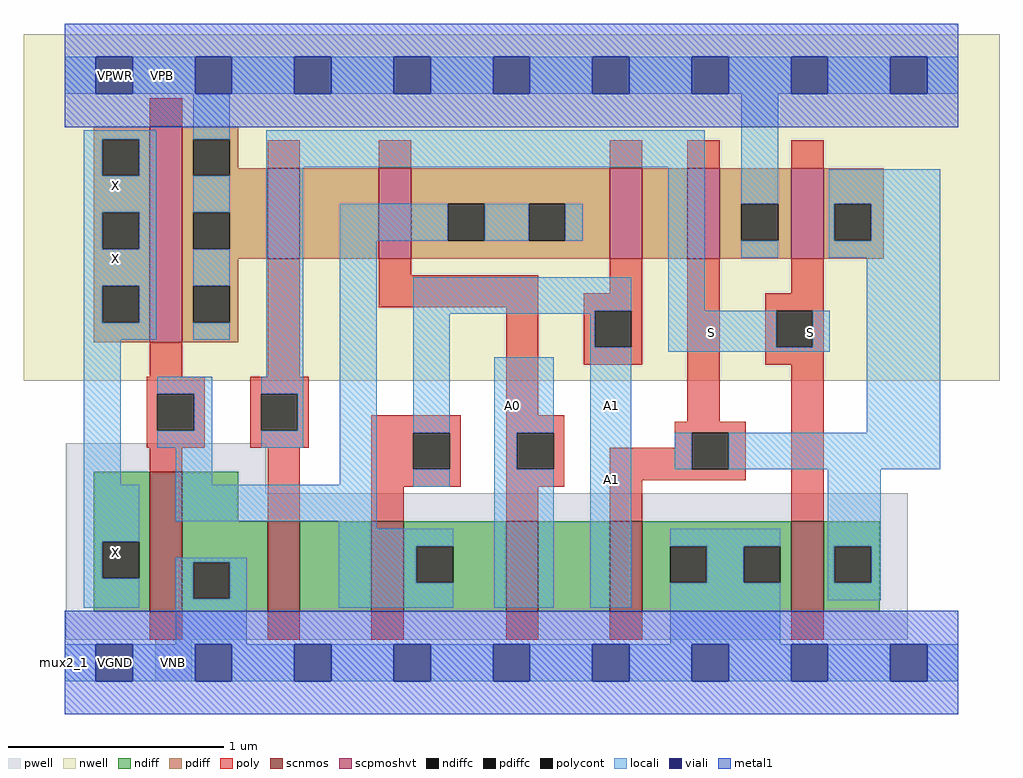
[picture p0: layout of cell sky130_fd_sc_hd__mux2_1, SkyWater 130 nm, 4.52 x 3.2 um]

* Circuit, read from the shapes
.subckt sky130_fd_sc_hd__mux2_1 VGND VPWR VPB VNB X A1 S A0
XM1 VGND n1 X VNB sky130_fd_pr__nfet_01v8 w=0.65 l=0.15
XM2 n2 S VGND VNB sky130_fd_pr__nfet_01v8 w=0.42 l=0.15
XM3 n1 A1 n2 VNB sky130_fd_pr__nfet_01v8 w=0.42 l=0.15
XM4 n3 A0 n1 VNB sky130_fd_pr__nfet_01v8 w=0.42 l=0.15
XM5 VGND n4 n3 VNB sky130_fd_pr__nfet_01v8 w=0.42 l=0.15
XM6 n4 S VGND VNB sky130_fd_pr__nfet_01v8 w=0.42 l=0.15
XM7 VPWR n1 X VPB sky130_fd_pr__pfet_01v8_hvt w=1 l=0.15
XM8 n5 S VPWR VPB sky130_fd_pr__pfet_01v8_hvt w=0.42 l=0.15
XM9 n1 A0 n5 VPB sky130_fd_pr__pfet_01v8_hvt w=0.42 l=0.15
XM10 n6 A1 n1 VPB sky130_fd_pr__pfet_01v8_hvt w=0.42 l=0.15
XM11 VPWR n4 n6 VPB sky130_fd_pr__pfet_01v8_hvt w=0.42 l=0.15
XM12 n4 S VPWR VPB sky130_fd_pr__pfet_01v8_hvt w=0.42 l=0.15
.ends

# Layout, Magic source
magic
tech sky130B
magscale 1 2
<< nwell >>
rect -38 221 866 542
<< pwell >>
rect 1 117 187 163
rect 1 -19 781 117
rect 84 -57 118 -19
<< scnmos >>
rect 79 7 109 137
rect 188 7 218 91
rect 284 7 314 91
rect 409 7 439 91
rect 505 7 535 91
rect 673 7 703 91
<< scpmoshvt >>
rect 79 257 109 457
rect 188 334 218 418
rect 291 334 321 418
rect 505 334 535 418
rect 577 334 607 418
rect 673 334 703 418
<< ndiff >>
rect 27 72 79 137
rect 27 38 35 72
rect 69 38 79 72
rect 27 7 79 38
rect 109 91 161 137
rect 109 53 188 91
rect 109 19 119 53
rect 153 19 188 53
rect 109 7 188 19
rect 218 7 284 91
rect 314 68 409 91
rect 314 34 326 68
rect 360 34 409 68
rect 314 7 409 34
rect 439 7 505 91
rect 535 68 673 91
rect 535 34 561 68
rect 595 34 629 68
rect 663 34 673 68
rect 535 7 673 34
rect 703 68 755 91
rect 703 34 713 68
rect 747 34 755 68
rect 703 7 755 34
<< pdiff >>
rect 27 445 79 457
rect 27 411 35 445
rect 69 411 79 445
rect 27 377 79 411
rect 27 343 35 377
rect 69 343 79 377
rect 27 309 79 343
rect 27 275 35 309
rect 69 275 79 309
rect 27 257 79 275
rect 109 445 161 457
rect 109 411 119 445
rect 153 418 161 445
rect 153 411 188 418
rect 109 377 188 411
rect 109 343 119 377
rect 153 343 188 377
rect 109 334 188 343
rect 218 334 291 418
rect 321 385 505 418
rect 321 351 355 385
rect 389 351 430 385
rect 464 351 505 385
rect 321 334 505 351
rect 535 334 577 418
rect 607 385 673 418
rect 607 351 627 385
rect 661 351 673 385
rect 607 334 673 351
rect 703 385 759 418
rect 703 351 713 385
rect 747 351 759 385
rect 703 334 759 351
rect 109 309 161 334
rect 109 275 119 309
rect 153 275 161 309
rect 109 257 161 275
<< ndiffc >>
rect 35 38 69 72
rect 119 19 153 53
rect 326 34 360 68
rect 561 34 595 68
rect 629 34 663 68
rect 713 34 747 68
<< pdiffc >>
rect 35 411 69 445
rect 35 343 69 377
rect 35 275 69 309
rect 119 411 153 445
rect 119 343 153 377
rect 355 351 389 385
rect 430 351 464 385
rect 627 351 661 385
rect 713 351 747 385
rect 119 275 153 309
<< poly >>
rect 79 457 109 483
rect 188 418 218 444
rect 291 418 321 444
rect 505 418 535 444
rect 577 418 607 444
rect 673 418 703 444
rect 79 225 109 257
rect 188 225 218 334
rect 291 319 321 334
rect 291 289 439 319
rect 505 302 535 334
rect 76 209 130 225
rect 76 175 86 209
rect 120 175 130 209
rect 76 159 130 175
rect 172 209 226 225
rect 172 175 182 209
rect 216 175 226 209
rect 409 189 439 289
rect 481 286 535 302
rect 481 252 491 286
rect 525 252 535 286
rect 481 236 535 252
rect 172 159 226 175
rect 284 173 367 189
rect 79 137 109 159
rect 188 91 218 159
rect 284 139 323 173
rect 357 139 367 173
rect 284 123 367 139
rect 409 173 463 189
rect 577 183 607 334
rect 673 302 703 334
rect 649 286 703 302
rect 649 252 659 286
rect 693 252 703 286
rect 649 236 703 252
rect 409 139 419 173
rect 453 139 463 173
rect 565 173 631 183
rect 565 159 581 173
rect 409 123 463 139
rect 505 139 581 159
rect 615 139 631 173
rect 505 129 631 139
rect 284 91 314 123
rect 409 91 439 123
rect 505 91 535 129
rect 673 91 703 236
rect 79 -19 109 7
rect 188 -19 218 7
rect 284 -19 314 7
rect 409 -19 439 7
rect 505 -19 535 7
rect 673 -19 703 7
<< polycont >>
rect 86 175 120 209
rect 182 175 216 209
rect 491 252 525 286
rect 323 139 357 173
rect 659 252 693 286
rect 419 139 453 173
rect 581 139 615 173
<< locali >>
rect 0 487 29 521
rect 63 487 121 521
rect 155 487 213 521
rect 247 487 305 521
rect 339 487 397 521
rect 431 487 489 521
rect 523 487 581 521
rect 615 487 673 521
rect 707 487 765 521
rect 799 487 828 521
rect 18 445 85 453
rect 18 411 35 445
rect 69 411 85 445
rect 18 377 85 411
rect 18 343 35 377
rect 69 343 85 377
rect 18 309 85 343
rect 18 275 35 309
rect 69 275 85 309
rect 18 259 85 275
rect 119 445 153 487
rect 119 377 153 411
rect 119 309 153 343
rect 119 259 153 275
rect 187 419 593 453
rect 18 125 52 259
rect 187 225 221 419
rect 86 209 137 225
rect 120 175 137 209
rect 86 159 137 175
rect 182 209 221 225
rect 216 175 221 209
rect 182 159 221 175
rect 255 351 355 385
rect 389 351 430 385
rect 464 351 480 385
rect 103 125 137 159
rect 255 125 289 351
rect 18 72 69 125
rect 103 91 289 125
rect 323 286 525 317
rect 323 283 491 286
rect 323 173 357 283
rect 487 252 491 283
rect 323 123 357 139
rect 398 173 453 243
rect 398 139 419 173
rect 18 38 35 72
rect 254 84 289 91
rect 254 68 360 84
rect 18 11 69 38
rect 103 53 169 57
rect 103 19 119 53
rect 153 19 169 53
rect 103 -23 169 19
rect 254 34 326 68
rect 254 11 360 34
rect 398 11 453 139
rect 487 11 525 252
rect 559 286 593 419
rect 627 385 661 487
rect 627 335 661 351
rect 708 385 811 417
rect 708 351 713 385
rect 747 351 811 385
rect 708 335 811 351
rect 559 252 659 286
rect 693 252 709 286
rect 559 248 709 252
rect 743 173 811 335
rect 565 139 581 173
rect 615 139 811 173
rect 561 68 663 84
rect 595 34 629 68
rect 561 -23 663 34
rect 707 68 756 139
rect 707 34 713 68
rect 747 34 756 68
rect 707 18 756 34
rect 0 -57 29 -23
rect 63 -57 121 -23
rect 155 -57 213 -23
rect 247 -57 305 -23
rect 339 -57 397 -23
rect 431 -57 489 -23
rect 523 -57 581 -23
rect 615 -57 673 -23
rect 707 -57 765 -23
rect 799 -57 828 -23
<< viali >>
rect 29 487 63 521
rect 121 487 155 521
rect 213 487 247 521
rect 305 487 339 521
rect 397 487 431 521
rect 489 487 523 521
rect 581 487 615 521
rect 673 487 707 521
rect 765 487 799 521
rect 29 -57 63 -23
rect 121 -57 155 -23
rect 213 -57 247 -23
rect 305 -57 339 -23
rect 397 -57 431 -23
rect 489 -57 523 -23
rect 581 -57 615 -23
rect 673 -57 707 -23
rect 765 -57 799 -23
<< metal1 >>
rect 0 521 828 552
rect 0 487 29 521
rect 63 487 121 521
rect 155 487 213 521
rect 247 487 305 521
rect 339 487 397 521
rect 431 487 489 521
rect 523 487 581 521
rect 615 487 673 521
rect 707 487 765 521
rect 799 487 828 521
rect 0 456 828 487
rect 0 -23 828 8
rect 0 -57 29 -23
rect 63 -57 121 -23
rect 155 -57 213 -23
rect 247 -57 305 -23
rect 339 -57 397 -23
rect 431 -57 489 -23
rect 523 -57 581 -23
rect 615 -57 673 -23
rect 707 -57 765 -23
rect 799 -57 828 -23
rect 0 -88 828 -57
<< labels >>
rlabel comment s 0 -40 0 -40 4 mux2_1
flabel metal1 s 30 -57 64 -23 0 FreeSans 200 0 0 0 VGND
port 2 nsew
flabel metal1 s 30 487 64 521 0 FreeSans 200 0 0 0 VPWR
port 3 nsew
flabel nwell s 74 487 108 521 0 FreeSans 250 0 0 0 VPB
port 5 nsew
flabel pwell s 84 -57 118 -23 0 FreeSans 250 0 0 0 VNB
port 6 nsew
flabel locali s 674 249 708 283 0 FreeSans 250 0 0 0 S
port 9 nsew
flabel locali s 582 249 616 283 0 FreeSans 250 0 0 0 S
port 9 nsew
flabel locali s 490 113 524 147 0 FreeSans 250 0 0 0 A1
port 8 nsew
flabel locali s 490 181 524 215 0 FreeSans 250 0 0 0 A1
port 8 nsew
flabel locali s 398 181 432 215 0 FreeSans 250 0 0 0 A0
port 10 nsew
flabel locali s 30 45 64 79 0 FreeSans 250 0 0 0 X
port 7 nsew
flabel locali s 30 317 64 351 0 FreeSans 250 0 0 0 X
port 7 nsew
flabel locali s 30 385 64 419 0 FreeSans 250 0 0 0 X
port 7 nsew
<< properties >>
string FIXED_BBOX 0 -40 828 504
string path 0.000 -1.000 20.700 -1.000 
<< end >>
